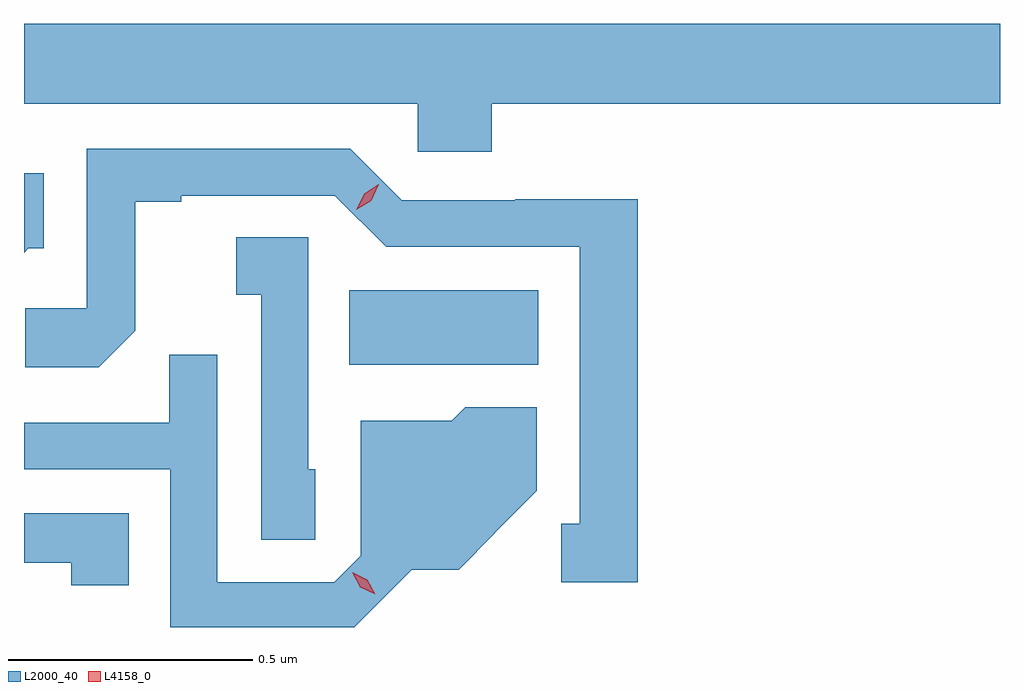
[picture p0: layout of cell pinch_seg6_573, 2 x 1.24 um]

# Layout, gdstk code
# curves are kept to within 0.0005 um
import gdstk
lib = gdstk.Library(unit=1e-6, precision=1e-09)
def R(c, l, rs):  # rectangles x0, y0, x1, y1
    for r in rs: c.add(gdstk.rectangle(r[:2], r[2:], *l))
def P(c, l, *ps):  # polygons
    for p in ps: c.add(gdstk.Polygon(p, *l))
L2000_40 = (2000, 40)
L4158_0 = (4158, 0)

pinch_seg6_573 = lib.new_cell('pinch_seg6_573')
R(pinch_seg6_573, L2000_40, [(610.894,994.754,611.281,994.906)])
P(pinch_seg6_573, L2000_40, [(611.186,995.288),(612.227,995.288),(612.227,995.452),(610.227,995.452),(610.227,995.288),(611.034,995.288),(611.034,995.19),(611.186,995.19)],
  [(611.485,995.093),(611.234,995.093),(611.234,995.091),(611.001,995.091),(610.896,995.196),(610.356,995.196),(610.356,994.869),(610.23,994.869),(610.23,994.748),(610.38,994.748),(610.455,994.823),(610.455,995.088),(610.549,995.088),(610.549,995.1),(610.864,995.1),(610.969,994.995),(611.366,994.995),(611.366,994.428),(611.328,994.428),(611.328,994.308),(611.485,994.308)],
  [(610.236,994.992),(610.267,994.992),(610.267,995.146),(610.227,995.146),(610.227,994.983)],
  [(610.824,994.539),(610.809,994.539),(610.809,995.015),(610.662,995.015),(610.662,994.897),(610.713,994.897),(610.713,994.395),(610.824,994.395)],
  [(611.022,994.334),(611.118,994.334),(611.278,994.495),(611.278,994.666),(611.131,994.666),(611.104,994.639),(610.917,994.639),(610.917,994.362),(610.863,994.308),(610.623,994.308),(610.623,994.774),(610.525,994.774),(610.525,994.635),(610.227,994.635),(610.227,994.539),(610.527,994.539),(610.527,994.216),(610.904,994.216)],
  [(610.442,994.449),(610.227,994.449),(610.227,994.348),(610.324,994.348),(610.324,994.302),(610.442,994.302)])
P(pinch_seg6_573, L4158_0, [(610.908,995.071),(610.908,995.071),(610.924,995.104),(610.954,995.123),(610.954,995.123),(610.954,995.123),(610.939,995.09),(610.908,995.071)],
  [(610.947,994.283),(610.916,994.298),(610.9,994.328),(610.9,994.328),(610.9,994.328),(610.93,994.313),(610.947,994.283),(610.947,994.283)])

lib.write_gds('pinch_seg6_573.gds')
